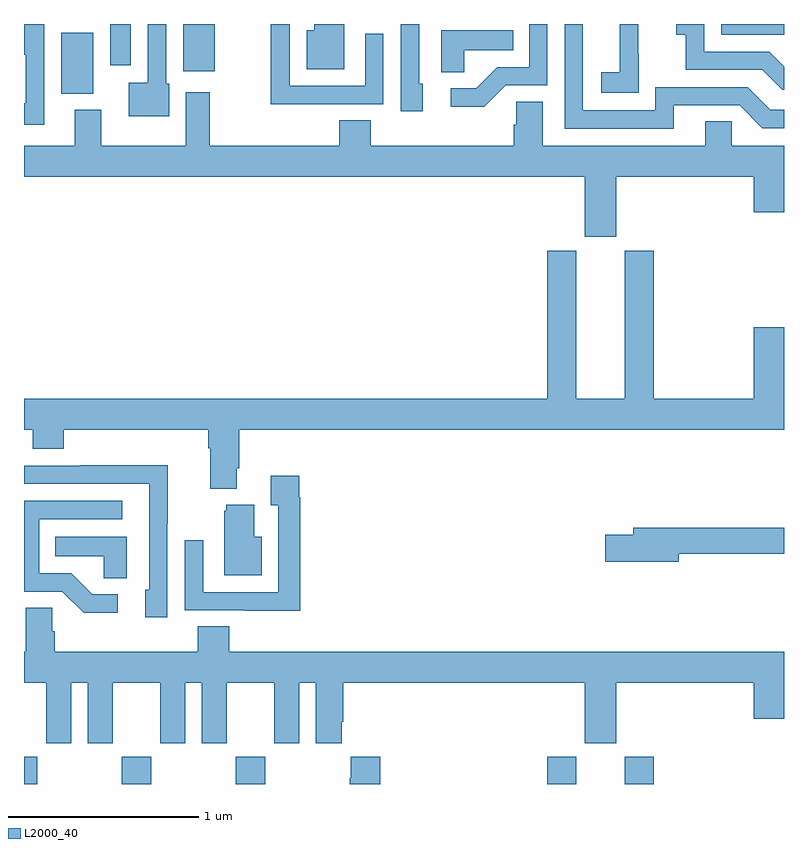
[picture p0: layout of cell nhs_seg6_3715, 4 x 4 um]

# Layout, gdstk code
import gdstk
lib = gdstk.Library(unit=1e-6, precision=1e-09)
def R(c, l, rs):  # rectangles x0, y0, x1, y1
    for r in rs: c.add(gdstk.rectangle(r[:2], r[2:], *l))
def P(c, l, *ps):  # polygons
    for p in ps: c.add(gdstk.Polygon(p, *l))
L2000_40 = (2000, 40)

nhs_seg6_3715 = lib.new_cell('nhs_seg6_3715')
R(nhs_seg6_3715, L2000_40, [(329,917.5,329.07,917.644), (329.515,917.5,329.67,917.644), (330.115,917.5,330.27,917.644), (331.754,917.5,331.906,917.643), (332.162,917.5,332.315,917.643), (329.195,921.134,329.365,921.454), (329.837,921.251,330.004,921.5), (329.453,921.282,329.563,921.5), (332.67,921.444,333,921.5)])
P(nhs_seg6_3715, L2000_40, [(329.764,921.186),(329.748,921.186),(329.748,921.5),(329.652,921.5),(329.652,921.19),(329.552,921.19),(329.552,921.014),(329.764,921.014)],
  [(330.685,921.5),(330.527,921.5),(330.527,921.466),(330.488,921.466),(330.488,921.263),(330.685,921.263)],
  [(331.536,921.177),(331.755,921.177),(331.755,921.5),(331.659,921.5),(331.659,921.273),(331.49,921.273),(331.379,921.162),(331.245,921.162),(331.245,921.065),(331.423,921.065)],
  [(331.099,921.186),(331.08,921.186),(331.08,921.5),(330.984,921.5),(330.984,921.042),(331.099,921.042)],
  [(332.419,921.072),(332.766,921.072),(332.886,920.952),(333,920.952),(333,921.048),(332.928,921.048),(332.808,921.168),(332.322,921.168),(332.322,921.045),(331.941,921.045),(331.941,921.5),(331.845,921.5),(331.845,920.949),(332.419,920.949)],
  [(333,921.276),(332.922,921.354),(332.58,921.354),(332.58,921.5),(332.433,921.5),(332.433,921.443),(332.482,921.443),(332.482,921.258),(332.885,921.258),(332.99,921.153),(333,921.153)],
  [(330.575,921.078),(330.891,921.078),(330.891,921.448),(330.795,921.448),(330.795,921.174),(330.399,921.174),(330.399,921.5),(330.298,921.5),(330.298,921.077),(330.575,921.077)],
  [(332.235,921.343),(332.234,921.343),(332.234,921.5),(332.136,921.5),(332.136,921.476),(332.135,921.476),(332.135,921.247),(332.037,921.247),(332.037,921.137),(332.235,921.137)],
  [(329.106,921.5),(329,921.5),(329,921.337),(329.01,921.337),(329.01,921.082),(329,921.082),(329,920.97),(329.106,920.97)],
  [(331.317,921.362),(331.574,921.362),(331.574,921.466),(331.196,921.466),(331.196,921.247),(331.317,921.247)],
  [(332.116,920.696),(332.84,920.696),(332.84,920.508),(333,920.508),(333,920.86),(332.724,920.86),(332.724,920.987),(332.585,920.987),(332.585,920.86),(331.729,920.86),(331.729,921.092),(331.59,921.092),(331.59,920.969),(331.577,920.969),(331.577,920.86),(330.824,920.86),(330.824,920.993),(330.659,920.993),(330.659,920.86),(329.978,920.86),(329.978,921.142),(329.852,921.142),(329.852,920.86),(329.407,920.86),(329.407,921.049),(329.267,921.049),(329.267,920.86),(329,920.86),(329,920.696),(331.952,920.696),(331.952,920.379),(332.116,920.379)],
  [(330.121,919.162),(330.134,919.162),(330.134,919.364),(333,919.364),(333,919.903),(332.84,919.903),(332.84,919.528),(332.315,919.528),(332.315,920.307),(332.162,920.307),(332.162,919.528),(331.906,919.528),(331.906,920.307),(331.754,920.307),(331.754,919.528),(329,919.528),(329,919.364),(329.045,919.364),(329.045,919.265),(329.21,919.265),(329.21,919.364),(329.969,919.364),(329.969,919.268),(329.981,919.268),(329.981,919.055),(330.121,919.055)],
  [(329.754,918.871),(329.757,918.871),(329.757,919.178),(329.293,919.178),(329.293,919.176),(329,919.176),(329,919.08),(329.658,919.08),(329.658,918.522),(329.639,918.522),(329.639,918.378),(329.754,918.378)],
  [(330.455,919.01),(330.448,919.01),(330.448,919.123),(330.299,919.123),(330.299,918.967),(330.339,918.967),(330.339,918.51),(329.943,918.51),(329.943,918.784),(329.847,918.784),(329.847,918.414),(330.163,918.414),(330.163,918.413),(330.455,918.413)],
  [(329.494,918.498),(329.359,918.498),(329.248,918.609),(329.079,918.609),(329.079,918.894),(329.518,918.894),(329.518,918.99),(329,918.99),(329,918.513),(329.202,918.513),(329.315,918.401),(329.494,918.401)],
  [(330.25,918.802),(330.211,918.802),(330.211,918.97),(330.065,918.97),(330.065,918.939),(330.053,918.939),(330.053,918.599),(330.25,918.599)],
  [(332.446,918.712),(333,918.712),(333,918.848),(332.207,918.848),(332.207,918.812),(332.058,918.812),(332.058,918.67),(332.446,918.67)],
  [(329.542,918.802),(329.164,918.802),(329.164,918.698),(329.421,918.698),(329.421,918.583),(329.542,918.583)],
  [(329.248,918.032),(329.336,918.032),(329.336,917.715),(329.467,917.715),(329.467,918.032),(329.717,918.032),(329.717,917.715),(329.848,917.715),(329.848,918.032),(329.936,918.032),(329.936,917.715),(330.067,917.715),(330.067,918.032),(330.317,918.032),(330.317,917.715),(330.448,917.715),(330.448,918.032),(330.536,918.032),(330.536,917.715),(330.673,917.715),(330.673,917.827),(330.68,917.827),(330.68,918.032),(331.952,918.032),(331.952,917.715),(332.116,917.715),(332.116,918.032),(332.84,918.032),(332.84,917.844),(333,917.844),(333,918.196),(330.08,918.196),(330.08,918.329),(329.915,918.329),(329.915,918.196),(329.162,918.196),(329.162,918.305),(329.148,918.305),(329.148,918.428),(329.009,918.428),(329.009,918.196),(329,918.196),(329,918.032),(329.117,918.032),(329.117,917.715),(329.248,917.715)],
  [(330.875,917.644),(330.719,917.644),(330.719,917.531),(330.715,917.531),(330.715,917.5),(330.875,917.5)])

lib.write_gds('nhs_seg6_3715.gds')
